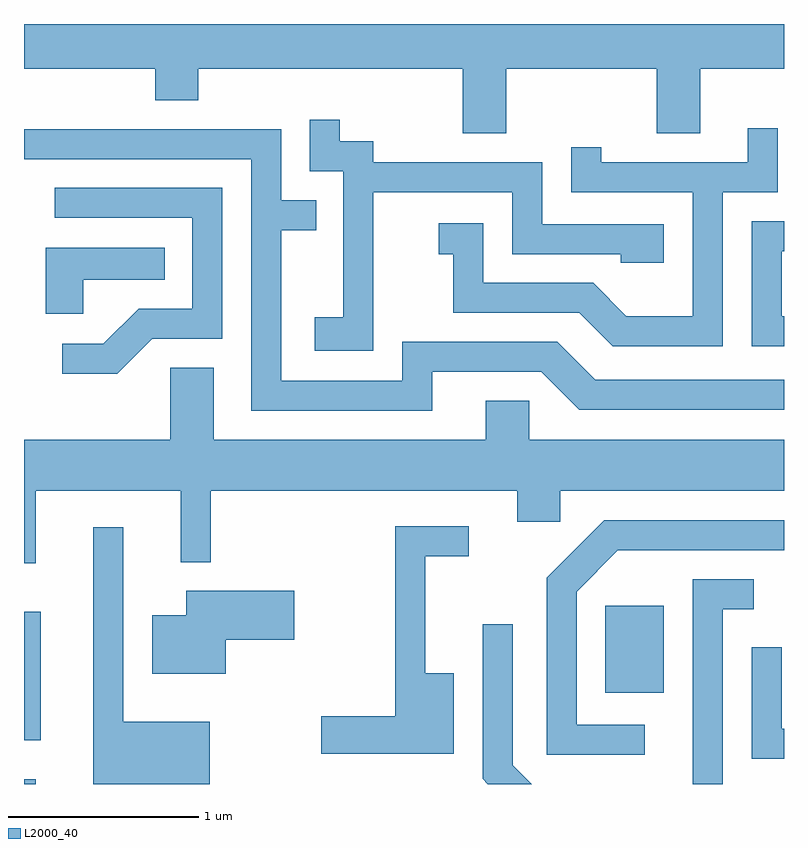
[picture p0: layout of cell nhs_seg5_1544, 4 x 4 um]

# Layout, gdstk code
import gdstk
lib = gdstk.Library(unit=1e-6, precision=1e-09)
def R(c, l, rs):  # rectangles x0, y0, x1, y1
    for r in rs: c.add(gdstk.rectangle(r[:2], r[2:], *l))
def P(c, l, *ps):  # polygons
    for p in ps: c.add(gdstk.Polygon(p, *l))
L2000_40 = (2000, 40)

nhs_seg5_1544 = lib.new_cell('nhs_seg5_1544')
R(nhs_seg5_1544, L2000_40, [(229.611,1524.072,229.674,1524.098), (229.611,1524.301,229.699,1524.979), (232.671,1524.551,232.979,1525.009)])
P(nhs_seg5_1544, L2000_40, [(232.149,1527.836),(232.941,1527.836),(232.941,1527.496),(233.169,1527.496),(233.169,1527.836),(233.611,1527.836),(233.611,1528.072),(229.611,1528.072),(229.611,1527.836),(230.301,1527.836),(230.301,1527.671),(230.529,1527.671),(230.529,1527.836),(231.921,1527.836),(231.921,1527.496),(232.149,1527.496)],
  [(231.449,1527.186),(232.181,1527.186),(232.181,1526.861),(232.751,1526.861),(232.751,1526.816),(232.979,1526.816),(232.979,1527.019),(232.339,1527.019),(232.339,1527.344),(231.449,1527.344),(231.449,1527.454),(231.274,1527.454),(231.274,1527.568),(231.116,1527.568),(231.116,1527.296),(231.291,1527.296),(231.291,1526.529),(231.141,1526.529),(231.141,1526.351),(231.449,1526.351)],
  [(233.289,1527.186),(233.579,1527.186),(233.579,1527.523),(233.421,1527.523),(233.421,1527.344),(232.649,1527.344),(232.649,1527.423),(232.491,1527.423),(232.491,1527.186),(233.131,1527.186),(233.131,1526.534),(232.782,1526.534),(232.607,1526.709),(232.029,1526.709),(232.029,1527.024),(231.793,1527.024),(231.793,1526.861),(231.871,1526.861),(231.871,1526.551),(232.534,1526.551),(232.709,1526.376),(233.289,1526.376)],
  [(231.759,1526.241),(232.334,1526.241),(232.534,1526.041),(233.611,1526.041),(233.611,1526.199),(232.617,1526.199),(232.417,1526.399),(231.601,1526.399),(231.601,1526.194),(230.964,1526.194),(230.964,1526.986),(231.148,1526.986),(231.148,1527.144),(230.964,1527.144),(230.964,1527.519),(229.611,1527.519),(229.611,1527.361),(230.806,1527.361),(230.806,1526.036),(231.759,1526.036)],
  [(230.287,1526.416),(230.654,1526.416),(230.654,1527.209),(229.773,1527.209),(229.773,1527.051),(230.496,1527.051),(230.496,1526.574),(230.214,1526.574),(230.029,1526.389),(229.813,1526.389),(229.813,1526.231),(230.102,1526.231)],
  [(233.611,1526.534),(233.599,1526.534),(233.599,1526.876),(233.611,1526.876),(233.611,1527.034),(233.441,1527.034),(233.441,1526.376),(233.611,1526.376)],
  [(229.924,1526.726),(230.353,1526.726),(230.353,1526.894),(229.726,1526.894),(229.726,1526.546),(229.924,1526.546)],
  [(229.674,1525.616),(230.436,1525.616),(230.436,1525.238),(230.594,1525.238),(230.594,1525.616),(232.206,1525.616),(232.206,1525.451),(232.434,1525.451),(232.434,1525.616),(233.611,1525.616),(233.611,1525.884),(232.269,1525.884),(232.269,1526.089),(232.041,1526.089),(232.041,1525.884),(230.609,1525.884),(230.609,1526.264),(230.381,1526.264),(230.381,1525.884),(229.611,1525.884),(229.611,1525.233),(229.674,1525.233)],
  [(232.878,1524.384),(232.519,1524.384),(232.519,1525.084),(232.737,1525.301),(233.611,1525.301),(233.611,1525.459),(232.664,1525.459),(232.361,1525.157),(232.361,1524.226),(232.878,1524.226)],
  [(231.874,1524.654),(231.724,1524.654),(231.724,1525.271),(231.953,1525.271),(231.953,1525.429),(231.566,1525.429),(231.566,1524.429),(231.176,1524.429),(231.176,1524.231),(231.874,1524.231)],
  [(230.589,1524.399),(230.134,1524.399),(230.134,1525.423),(229.976,1525.423),(229.976,1524.072),(230.589,1524.072)],
  [(233.289,1524.991),(233.453,1524.991),(233.453,1525.149),(233.131,1525.149),(233.131,1524.072),(233.289,1524.072)],
  [(230.674,1524.831),(231.034,1524.831),(231.034,1525.089),(230.466,1525.089),(230.466,1524.959),(230.286,1524.959),(230.286,1524.651),(230.674,1524.651)],
  [(232.184,1524.172),(232.184,1524.913),(232.026,1524.913),(232.026,1524.099),(232.053,1524.072),(232.284,1524.072)],
  [(233.611,1524.364),(233.599,1524.364),(233.599,1524.793),(233.441,1524.793),(233.441,1524.206),(233.611,1524.206)])

lib.write_gds('nhs_seg5_1544.gds')
